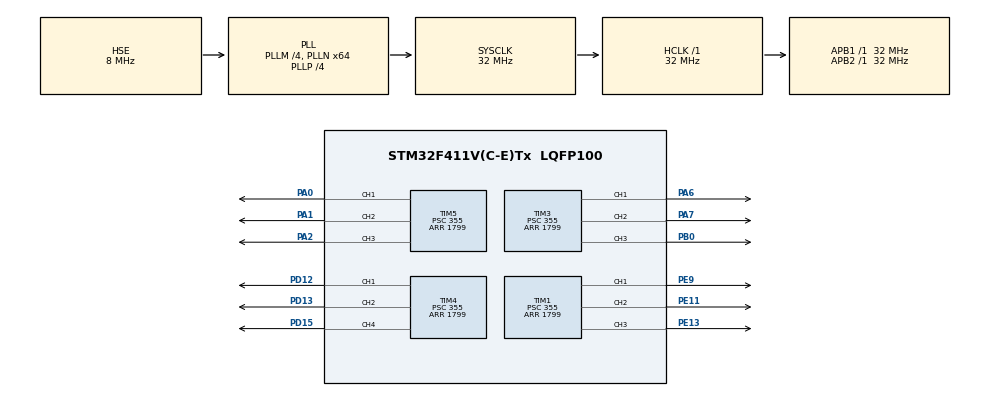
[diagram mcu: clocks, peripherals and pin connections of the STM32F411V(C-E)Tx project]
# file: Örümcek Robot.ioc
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Mcu.Family=STM32F4
Mcu.Name=STM32F411V(C-E)Tx
Mcu.Package=LQFP100
NVIC.PriorityGroup=NVIC_PRIORITYGROUP_4
PA0-WKUP.Signal=S_TIM5_CH1
PA1.Signal=S_TIM5_CH2
PA13.Mode=Serial_Wire
PA13.Signal=SYS_JTMS-SWDIO
PA14.Mode=Serial_Wire
PA14.Signal=SYS_JTCK-SWCLK
PA2.Signal=S_TIM5_CH3
PA6.Signal=S_TIM3_CH1
PA7.Signal=S_TIM3_CH2
PB0.Signal=S_TIM3_CH3
PD12.Signal=S_TIM4_CH1
PD13.Signal=S_TIM4_CH2
PD15.Signal=S_TIM4_CH4
PE11.Signal=S_TIM1_CH2
PE13.Signal=S_TIM1_CH3
PE9.Signal=S_TIM1_CH1
PH0\ -\ OSC_IN.Mode=HSE-External-Oscillator
PH0\ -\ OSC_IN.Signal=RCC_OSC_IN
PH1\ -\ OSC_OUT.Mode=HSE-External-Oscillator
PH1\ -\ OSC_OUT.Signal=RCC_OSC_OUT
ProjectManager.HeapSize=0x200
ProjectManager.StackSize=0x400
ProjectManager.TargetToolchain=STM32CubeIDE
RCC.48MHZClocksFreq_Value=32000000
RCC.AHBFreq_Value=32000000
RCC.APB1Freq_Value=32000000
RCC.APB1TimFreq_Value=32000000
RCC.APB2Freq_Value=32000000
RCC.APB2TimFreq_Value=32000000
RCC.CortexFreq_Value=32000000
RCC.HCLKFreq_Value=32000000
RCC.HSE_VALUE=8000000
RCC.HSI_VALUE=16000000
RCC.LSE_VALUE=32768
RCC.PLLM=4
RCC.PLLN=64
RCC.PLLP=RCC_PLLP_DIV4
RCC.PLLSourceVirtual=RCC_PLLSOURCE_HSE
RCC.SYSCLKFreq_VALUE=32000000
RCC.SYSCLKSource=RCC_SYSCLKSOURCE_PLLCLK
RCC.VCOOutputFreq_Value=128000000
SH.S_TIM1_CH1.0=TIM1_CH1,PWM Generation1 CH1
SH.S_TIM1_CH2.0=TIM1_CH2,PWM Generation2 CH2
SH.S_TIM1_CH3.0=TIM1_CH3,PWM Generation3 CH3
SH.S_TIM3_CH1.0=TIM3_CH1,PWM Generation1 CH1
SH.S_TIM3_CH2.0=TIM3_CH2,PWM Generation2 CH2
SH.S_TIM3_CH3.0=TIM3_CH3,PWM Generation3 CH3
SH.S_TIM4_CH1.0=TIM4_CH1,PWM Generation1 CH1
SH.S_TIM4_CH2.0=TIM4_CH2,PWM Generation2 CH2
SH.S_TIM4_CH4.0=TIM4_CH4,PWM Generation4 CH4
SH.S_TIM5_CH1.0=TIM5_CH1,PWM Generation1 CH1
SH.S_TIM5_CH2.0=TIM5_CH2,PWM Generation2 CH2
SH.S_TIM5_CH3.0=TIM5_CH3,PWM Generation3 CH3
TIM1.Channel-PWM\ Generation1\ CH1=TIM_CHANNEL_1
TIM1.Channel-PWM\ Generation2\ CH2=TIM_CHANNEL_2
TIM1.Channel-PWM\ Generation3\ CH3=TIM_CHANNEL_3
TIM1.Period=1799
TIM1.Prescaler=355
TIM3.Channel-PWM\ Generation1\ CH1=TIM_CHANNEL_1
TIM3.Channel-PWM\ Generation2\ CH2=TIM_CHANNEL_2
TIM3.Channel-PWM\ Generation3\ CH3=TIM_CHANNEL_3
TIM3.Period=1799
TIM3.Prescaler=355
TIM4.Channel-PWM\ Generation1\ CH1=TIM_CHANNEL_1
TIM4.Channel-PWM\ Generation2\ CH2=TIM_CHANNEL_2
TIM4.Channel-PWM\ Generation4\ CH4=TIM_CHANNEL_4
TIM4.Period=1799
TIM4.Prescaler=355
TIM5.Channel-PWM\ Generation1\ CH1=TIM_CHANNEL_1
TIM5.Channel-PWM\ Generation2\ CH2=TIM_CHANNEL_2
TIM5.Channel-PWM\ Generation3\ CH3=TIM_CHANNEL_3
TIM5.Period=1799
TIM5.Prescaler=355
board=custom

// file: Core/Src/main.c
/* USER CODE BEGIN Header */
/**
  ******************************************************************************
  * @file           : main.c
  * @brief          : Main program body
  ******************************************************************************
  * @attention
  *
  * Copyright (c) 2022 STMicroelectronics.
  * All rights reserved.
  *
  * This software is licensed under terms that can be found in the LICENSE file
  * in the root directory of this software component.
  * If no LICENSE file comes with this software, it is provided AS-IS.
  *
  ******************************************************************************
  */
/* USER CODE END Header */
#include "main.h"

TIM_HandleTypeDef htim1;
TIM_HandleTypeDef htim3;
TIM_HandleTypeDef htim4;
TIM_HandleTypeDef htim5;

void SystemClock_Config(void);
static void MX_GPIO_Init(void);
static void MX_TIM1_Init(void);
static void MX_TIM3_Init(void);
static void MX_TIM4_Init(void);
static void MX_TIM5_Init(void);

/* USER CODE BEGIN 0 */

void leg1_1(int angle);
void leg1_2(int angle);
void leg1_3(int angle);

void leg2_1(int angle);
void leg2_2(int angle);
void leg2_3(int angle);

void leg3_1(int angle);
void leg3_2(int angle);
void leg3_3(int angle);

void leg4_1(int angle);
void leg4_2(int angle);
void leg4_3(int angle);

void robot_tims_init(void);
void robot_all_leg_90(void);
void robot_all_leg_init(void);
void İnitilazePosition(void);
void moveForward(void);
void kademeliArttir(TIM_HandleTypeDef,unsigned int, int, int, int, int);

int a = 45;
int b = 67.5;
int c = 90;
int d = 112.5;
int e = 135;

//int a = 40;
//int b = 65;
//int c = 90;
//int d = 115;
//int e = 140;

int currentPosition[4][3]={{90,90,90},
		{90,90,90},
		{90,90,90},
		{90,90,90}};

/* USER CODE END 0 */

int main(void)
{

  /* MCU Configuration--------------------------------------------------------*/

  /* Reset of all peripherals, Initializes the Flash interface and the Systick. */
  HAL_Init();

  /* Configure the system clock */
  SystemClock_Config();

  /* Initialize all configured peripherals */
  MX_GPIO_Init();
  MX_TIM1_Init();
  MX_TIM3_Init();
  MX_TIM4_Init();
  MX_TIM5_Init();
  /* USER CODE BEGIN 2 */

  robot_tims_init();
  robot_all_leg_90();
  HAL_Delay(400);
  İnitilazePosition();
  HAL_Delay(2000);

//  robot_all_leg_90();

//  robot_all_leg_90();
  /* USER CODE END 2 */

  /* Infinite loop */
  while (1)
  {

    /* USER CODE BEGIN 3 */

	  moveForward();

//	moveForward();

  }
  /* USER CODE END 3 */
}

void SystemClock_Config(void)
{
  RCC_OscInitTypeDef RCC_OscInitStruct = {0};
  RCC_ClkInitTypeDef RCC_ClkInitStruct = {0};

  /** Configure the main internal regulator output voltage
  */
  __HAL_RCC_PWR_CLK_ENABLE();
  __HAL_PWR_VOLTAGESCALING_CONFIG(PWR_REGULATOR_VOLTAGE_SCALE1);

  /** Initializes the RCC Oscillators according to the specified parameters
  * in the RCC_OscInitTypeDef structure.
  */
  RCC_OscInitStruct.OscillatorType = RCC_OSCILLATORTYPE_HSE;
  RCC_OscInitStruct.HSEState = RCC_HSE_ON;
  RCC_OscInitStruct.PLL.PLLState = RCC_PLL_ON;
  RCC_OscInitStruct.PLL.PLLSource = RCC_PLLSOURCE_HSE;
  RCC_OscInitStruct.PLL.PLLM = 4;
  RCC_OscInitStruct.PLL.PLLN = 64;
  RCC_OscInitStruct.PLL.PLLP = RCC_PLLP_DIV4;
  RCC_OscInitStruct.PLL.PLLQ = 4;
  if (HAL_RCC_OscConfig(&RCC_OscInitStruct) != HAL_OK)
  {
    Error_Handler();
  }

  /** Initializes the CPU, AHB and APB buses clocks
  */
  RCC_ClkInitStruct.ClockType = RCC_CLOCKTYPE_HCLK|RCC_CLOCKTYPE_SYSCLK
                              |RCC_CLOCKTYPE_PCLK1|RCC_CLOCKTYPE_PCLK2;
  RCC_ClkInitStruct.SYSCLKSource = RCC_SYSCLKSOURCE_PLLCLK;
  RCC_ClkInitStruct.AHBCLKDivider = RCC_SYSCLK_DIV1;
  RCC_ClkInitStruct.APB1CLKDivider = RCC_HCLK_DIV1;
  RCC_ClkInitStruct.APB2CLKDivider = RCC_HCLK_DIV1;

  if (HAL_RCC_ClockConfig(&RCC_ClkInitStruct, FLASH_LATENCY_1) != HAL_OK)
  {
    Error_Handler();
  }
}

static void MX_TIM1_Init(void)
{

  TIM_MasterConfigTypeDef sMasterConfig = {0};
  TIM_OC_InitTypeDef sConfigOC = {0};
  TIM_BreakDeadTimeConfigTypeDef sBreakDeadTimeConfig = {0};

  htim1.Instance = TIM1;
  htim1.Init.Prescaler = 355;
  htim1.Init.CounterMode = TIM_COUNTERMODE_UP;
  htim1.Init.Period = 1799;
  htim1.Init.ClockDivision = TIM_CLOCKDIVISION_DIV1;
  htim1.Init.RepetitionCounter = 0;
  htim1.Init.AutoReloadPreload = TIM_AUTORELOAD_PRELOAD_DISABLE;
  if (HAL_TIM_PWM_Init(&htim1) != HAL_OK)
  {
    Error_Handler();
  }
  sMasterConfig.MasterOutputTrigger = TIM_TRGO_RESET;
  sMasterConfig.MasterSlaveMode = TIM_MASTERSLAVEMODE_DISABLE;
  if (HAL_TIMEx_MasterConfigSynchronization(&htim1, &sMasterConfig) != HAL_OK)
  {
    Error_Handler();
  }
  sConfigOC.OCMode = TIM_OCMODE_PWM1;
  sConfigOC.Pulse = 0;
  sConfigOC.OCPolarity = TIM_OCPOLARITY_HIGH;
  sConfigOC.OCNPolarity = TIM_OCNPOLARITY_HIGH;
  sConfigOC.OCFastMode = TIM_OCFAST_DISABLE;
  sConfigOC.OCIdleState = TIM_OCIDLESTATE_RESET;
  sConfigOC.OCNIdleState = TIM_OCNIDLESTATE_RESET;
  if (HAL_TIM_PWM_ConfigChannel(&htim1, &sConfigOC, TIM_CHANNEL_1) != HAL_OK)
  {
    Error_Handler();
  }
  if (HAL_TIM_PWM_ConfigChannel(&htim1, &sConfigOC, TIM_CHANNEL_2) != HAL_OK)
  {
    Error_Handler();
  }
  if (HAL_TIM_PWM_ConfigChannel(&htim1, &sConfigOC, TIM_CHANNEL_3) != HAL_OK)
  {
    Error_Handler();
  }
  sBreakDeadTimeConfig.OffStateRunMode = TIM_OSSR_DISABLE;
  sBreakDeadTimeConfig.OffStateIDLEMode = TIM_OSSI_DISABLE;
  sBreakDeadTimeConfig.LockLevel = TIM_LOCKLEVEL_OFF;
  sBreakDeadTimeConfig.DeadTime = 0;
  sBreakDeadTimeConfig.BreakState = TIM_BREAK_DISABLE;
  sBreakDeadTimeConfig.BreakPolarity = TIM_BREAKPOLARITY_HIGH;
  sBreakDeadTimeConfig.AutomaticOutput = TIM_AUTOMATICOUTPUT_DISABLE;
  if (HAL_TIMEx_ConfigBreakDeadTime(&htim1, &sBreakDeadTimeConfig) != HAL_OK)
  {
    Error_Handler();
  }
  HAL_TIM_MspPostInit(&htim1);

}

static void MX_TIM3_Init(void)
{

  TIM_MasterConfigTypeDef sMasterConfig = {0};
  TIM_OC_InitTypeDef sConfigOC = {0};

  htim3.Instance = TIM3;
  htim3.Init.Prescaler = 355;
  htim3.Init.CounterMode = TIM_COUNTERMODE_UP;
  htim3.Init.Period = 1799;
  htim3.Init.ClockDivision = TIM_CLOCKDIVISION_DIV1;
  htim3.Init.AutoReloadPreload = TIM_AUTORELOAD_PRELOAD_DISABLE;
  if (HAL_TIM_PWM_Init(&htim3) != HAL_OK)
  {
    Error_Handler();
  }
  sMasterConfig.MasterOutputTrigger = TIM_TRGO_RESET;
  sMasterConfig.MasterSlaveMode = TIM_MASTERSLAVEMODE_DISABLE;
  if (HAL_TIMEx_MasterConfigSynchronization(&htim3, &sMasterConfig) != HAL_OK)
  {
    Error_Handler();
  }
  sConfigOC.OCMode = TIM_OCMODE_PWM1;
  sConfigOC.Pulse = 0;
  sConfigOC.OCPolarity = TIM_OCPOLARITY_HIGH;
  sConfigOC.OCFastMode = TIM_OCFAST_DISABLE;
  if (HAL_TIM_PWM_ConfigChannel(&htim3, &sConfigOC, TIM_CHANNEL_1) != HAL_OK)
  {
    Error_Handler();
  }
  if (HAL_TIM_PWM_ConfigChannel(&htim3, &sConfigOC, TIM_CHANNEL_2) != HAL_OK)
  {
    Error_Handler();
  }
  if (HAL_TIM_PWM_ConfigChannel(&htim3, &sConfigOC, TIM_CHANNEL_3) != HAL_OK)
  {
    Error_Handler();
  }
  HAL_TIM_MspPostInit(&htim3);

}

static void MX_TIM4_Init(void)
{

  TIM_MasterConfigTypeDef sMasterConfig = {0};
  TIM_OC_InitTypeDef sConfigOC = {0};

  htim4.Instance = TIM4;
  htim4.Init.Prescaler = 355;
  htim4.Init.CounterMode = TIM_COUNTERMODE_UP;
  htim4.Init.Period = 1799;
  htim4.Init.ClockDivision = TIM_CLOCKDIVISION_DIV1;
  htim4.Init.AutoReloadPreload = TIM_AUTORELOAD_PRELOAD_DISABLE;
  if (HAL_TIM_PWM_Init(&htim4) != HAL_OK)
  {
    Error_Handler();
  }
  sMasterConfig.MasterOutputTrigger = TIM_TRGO_RESET;
  sMasterConfig.MasterSlaveMode = TIM_MASTERSLAVEMODE_DISABLE;
  if (HAL_TIMEx_MasterConfigSynchronization(&htim4, &sMasterConfig) != HAL_OK)
  {
    Error_Handler();
  }
  sConfigOC.OCMode = TIM_OCMODE_PWM1;
  sConfigOC.Pulse = 0;
  sConfigOC.OCPolarity = TIM_OCPOLARITY_HIGH;
  sConfigOC.OCFastMode = TIM_OCFAST_DISABLE;
  if (HAL_TIM_PWM_ConfigChannel(&htim4, &sConfigOC, TIM_CHANNEL_1) != HAL_OK)
  {
    Error_Handler();
  }
  if (HAL_TIM_PWM_ConfigChannel(&htim4, &sConfigOC, TIM_CHANNEL_2) != HAL_OK)
  {
    Error_Handler();
  }
  if (HAL_TIM_PWM_ConfigChannel(&htim4, &sConfigOC, TIM_CHANNEL_4) != HAL_OK)
  {
    Error_Handler();
  }
  HAL_TIM_MspPostInit(&htim4);

}

static void MX_TIM5_Init(void)
{

  TIM_MasterConfigTypeDef sMasterConfig = {0};
  TIM_OC_InitTypeDef sConfigOC = {0};

  htim5.Instance = TIM5;
  htim5.Init.Prescaler = 355;
  htim5.Init.CounterMode = TIM_COUNTERMODE_UP;
  htim5.Init.Period = 1799;
  htim5.Init.ClockDivision = TIM_CLOCKDIVISION_DIV1;
  htim5.Init.AutoReloadPreload = TIM_AUTORELOAD_PRELOAD_DISABLE;
  if (HAL_TIM_PWM_Init(&htim5) != HAL_OK)
  {
    Error_Handler();
  }
  sMasterConfig.MasterOutputTrigger = TIM_TRGO_RESET;
  sMasterConfig.MasterSlaveMode = TIM_MASTERSLAVEMODE_DISABLE;
  if (HAL_TIMEx_MasterConfigSynchronization(&htim5, &sMasterConfig) != HAL_OK)
  {
    Error_Handler();
  }
  sConfigOC.OCMode = TIM_OCMODE_PWM1;
  sConfigOC.Pulse = 0;
  sConfigOC.OCPolarity = TIM_OCPOLARITY_HIGH;
  sConfigOC.OCFastMode = TIM_OCFAST_DISABLE;
  if (HAL_TIM_PWM_ConfigChannel(&htim5, &sConfigOC, TIM_CHANNEL_1) != HAL_OK)
  {
    Error_Handler();
  }
  if (HAL_TIM_PWM_ConfigChannel(&htim5, &sConfigOC, TIM_CHANNEL_2) != HAL_OK)
  {
    Error_Handler();
  }
  if (HAL_TIM_PWM_ConfigChannel(&htim5, &sConfigOC, TIM_CHANNEL_3) != HAL_OK)
  {
    Error_Handler();
  }
  HAL_TIM_MspPostInit(&htim5);

}

static void MX_GPIO_Init(void)
{

  /* GPIO Ports Clock Enable */
  __HAL_RCC_GPIOH_CLK_ENABLE();
  __HAL_RCC_GPIOA_CLK_ENABLE();
  __HAL_RCC_GPIOB_CLK_ENABLE();
  __HAL_RCC_GPIOE_CLK_ENABLE();
  __HAL_RCC_GPIOD_CLK_ENABLE();

}

/* USER CODE BEGIN 4 */
void İnitilazePosition(){

int t=300;

leg1_3(d);
HAL_Delay(t);
leg2_3(b);
HAL_Delay(t);
leg3_3(b);
HAL_Delay(t);
leg4_3(d);
HAL_Delay(t);

leg1_2(b);
HAL_Delay(t);
leg2_2(d);
HAL_Delay(t);
leg3_2(d);
HAL_Delay(t);
leg4_2(b);
HAL_Delay(t);

leg1_1(b);
HAL_Delay(t);
leg2_1(d);
HAL_Delay(t);
leg3_1(d);
HAL_Delay(t);
leg4_1(b);
HAL_Delay(t);

}

void moveForward(){
	int delay=200;
	leg2_2(e);
	HAL_Delay(delay);
	leg2_3(a);
	leg2_1(c);
	HAL_Delay(delay);
	leg2_2(d);
	HAL_Delay(delay);

	leg1_3(c+20);//
	leg3_3(a-20);
	leg4_3(e);
	leg1_1(a);
	leg2_1(d);
	leg3_1(c);
	leg4_1(c+10);
	HAL_Delay(delay);

	leg3_2(e);
	HAL_Delay(delay);
	leg3_3(c-20);
	leg3_1(d);
	HAL_Delay(delay);
	leg3_2(d);
	HAL_Delay(delay);

	/*    */

	leg1_2(a);
	HAL_Delay(delay);
	leg1_3(e+20);//
	leg1_1(b);
	HAL_Delay(delay);
	leg1_2(b);
	HAL_Delay(delay);

	leg1_3(d+20);
	leg2_3(b);
	leg3_3(b-20);
	leg4_2(c);
	leg1_1(b);//b
	leg4_1(d+10);
	HAL_Delay(delay);

	leg4_2(a);
	HAL_Delay(delay);
	leg4_3(d);
	leg4_1(b+10);
	HAL_Delay(delay);
	leg4_2(b);
	HAL_Delay(delay);
}

void kademeliArttir(TIM_HandleTypeDef timer,unsigned int chanel, int bacak, int eklem, int angle, int fark){
	int i;
	int current = currentPosition[bacak][eklem];

	if(current == angle){
		__HAL_TIM_SET_COMPARE(&timer, chanel, current);
		return;
	}

	if(current < angle){
		for(i=current; i<=angle; i++){
			HAL_Delay(3);
			__HAL_TIM_SET_COMPARE(&timer, chanel, i);
		}
		currentPosition[bacak][eklem] = angle;
	}
	else{
		for(i=current; i>=angle; i--){

			HAL_Delay(3);
			__HAL_TIM_SET_COMPARE(&timer, chanel, i);
		}
		currentPosition[bacak][eklem] = angle;
	}

}

void leg4_1(int angle){

	if(angle < 0)
		 angle = 0;
	if(angle >180)
		angle = 180;
	angle = angle + 45;
	kademeliArttir(htim5, TIM_CHANNEL_2, 4, 1, angle, 45);

	//__HAL_TIM_SET_COMPARE(&htim5, TIM_CHANNEL_2, angle);

}

void leg4_2(int angle){

	if(angle < 0)
		 angle = 0;
	if(angle >180)
		angle = 180;
	angle = angle + 37;//37
	//kademeliArttir(htim3,TIM_CHANNEL_2, 4, 2, angle, 37);
	__HAL_TIM_SET_COMPARE(&htim3, TIM_CHANNEL_2, angle);

}

void leg4_3(int angle){

	if(angle < 0)
		 angle = 0;
	if(angle >180)
		angle = 180;
	angle = angle + 45;
	kademeliArttir(htim1, TIM_CHANNEL_1, 4, 3, angle, 45);
	//__HAL_TIM_SET_COMPARE(&htim1, TIM_CHANNEL_1, angle);

}

void leg2_1(int angle){

	if(angle < 0)
		 angle = 0;
	if(angle >180)
		angle = 180;
	angle = angle + 45;
	kademeliArttir(htim1, TIM_CHANNEL_3, 2, 1, angle, 45);
	//__HAL_TIM_SET_COMPARE(&htim1, TIM_CHANNEL_3, angle);
}

void leg2_2(int angle){

	if(angle < 0)
		 angle = 0;
	if(angle >180)
		angle = 180;
	angle = angle + 47;
	kademeliArttir(htim5, TIM_CHANNEL_3, 2, 2, angle, 47);
	//__HAL_TIM_SET_COMPARE(&htim5, TIM_CHANNEL_3, angle);
}

void leg2_3(int angle){

	if(angle < 0)
		 angle = 0;
	if(angle >180)
		angle = 180;
	angle = angle + 32;
	kademeliArttir(htim5, TIM_CHANNEL_1, 2, 3, angle, 32);
	//__HAL_TIM_SET_COMPARE(&htim5, TIM_CHANNEL_1, angle);
}

void leg3_1(int angle){

	if(angle < 0)
		 angle = 0;
	if(angle >180)
		angle = 180;
	angle = angle + 45;
	kademeliArttir(htim4, TIM_CHANNEL_4, 3, 1, angle, 45);
	//__HAL_TIM_SET_COMPARE(&htim4, TIM_CHANNEL_4, angle);

}

void leg3_2(int angle){

	if(angle < 0)
		 angle = 0;
	if(angle >180)
		angle = 180;
	angle = angle + 47;
	kademeliArttir(htim4, TIM_CHANNEL_2, 3, 2, angle, 47);
	//__HAL_TIM_SET_COMPARE(&htim4, TIM_CHANNEL_2, angle);

}

void leg3_3(int angle){
	if(angle < 0)
		 angle = 0;
	if(angle >180)
		angle = 180;
	angle = angle + 37;//37
	//kademeliArttir(htim1, TIM_CHANNEL_2, 3, 3, angle, 37);
	__HAL_TIM_SET_COMPARE(&htim1, TIM_CHANNEL_2, angle);
}

void leg1_1(int angle){
	if(angle < 0)
		 angle = 0;
	if(angle >180)
		angle = 180;
	angle = angle + 35;
	kademeliArttir(htim4, TIM_CHANNEL_1, 1, 1, angle, 35);
	//__HAL_TIM_SET_COMPARE(&htim4, TIM_CHANNEL_1, angle);
}

void leg1_2(int angle){
	if(angle < 0)
		 angle = 0;
	if(angle >180)
		angle = 180;
	angle = angle + 48;
	kademeliArttir(htim3, TIM_CHANNEL_3, 1, 2, angle, 48);
	//__HAL_TIM_SET_COMPARE(&htim3, TIM_CHANNEL_3, angle);
}

void leg1_3(int angle){
	if(angle < 0)
		 angle = 0;
	if(angle >180)
		angle = 180;
	angle = angle + 48;
	kademeliArttir(htim3, TIM_CHANNEL_1, 1, 3, angle, 48);
	//__HAL_TIM_SET_COMPARE(&htim3, TIM_CHANNEL_1, angle);
}

void robot_all_leg_90(void){

	int i = 90;

	  leg1_1(i);
	  HAL_Delay(500);
	  leg1_2(i);
	  HAL_Delay(500);
	  leg1_3(i);
	  HAL_Delay(1500);

	  leg2_1(i);
	  HAL_Delay(500);
	  leg2_2(i);
	  HAL_Delay(500);
	  leg2_3(i);
	  HAL_Delay(1500);

	  leg3_1(i);
	  HAL_Delay(500);
	  leg3_2(i);
	  HAL_Delay(500);
	  leg3_3(i);
	  HAL_Delay(1500);

	  leg4_1(i);
	  HAL_Delay(500);
	  leg4_2(i);
	  HAL_Delay(500);
	  leg4_3(i);
	  HAL_Delay(1500);

}

void robot_all_leg_init(void){
	  leg1_1(115);
	  HAL_Delay(500);
	  leg1_2(120);
	  HAL_Delay(500);
	  leg1_3(140);
	  HAL_Delay(500);

	  leg4_1(115);
	  HAL_Delay(500);
	  leg4_2(120);
	  HAL_Delay(500);
	  leg4_3(140);
	  HAL_Delay(500);

	  leg2_1(65);
	  HAL_Delay(500);
	  leg2_2(60);
	  HAL_Delay(500);
	  leg2_3(40);
	  HAL_Delay(500);

	  leg3_1(65);
	  HAL_Delay(500);
	  leg3_2(60);
	  HAL_Delay(500);
	  leg3_3(40);
	  HAL_Delay(500);

}

void robot_tims_init(void){

	  HAL_TIM_PWM_Start(&htim1, TIM_CHANNEL_1);
	  HAL_TIM_PWM_Start(&htim1, TIM_CHANNEL_2);
	  HAL_TIM_PWM_Start(&htim1, TIM_CHANNEL_3);

	  HAL_TIM_PWM_Start(&htim3, TIM_CHANNEL_1);
	  HAL_TIM_PWM_Start(&htim3, TIM_CHANNEL_2);
	  HAL_TIM_PWM_Start(&htim3, TIM_CHANNEL_3);

	  HAL_TIM_PWM_Start(&htim4, TIM_CHANNEL_1);
	  HAL_TIM_PWM_Start(&htim4, TIM_CHANNEL_2);
	  HAL_TIM_PWM_Start(&htim4, TIM_CHANNEL_4);

	  HAL_TIM_PWM_Start(&htim5, TIM_CHANNEL_1);
	  HAL_TIM_PWM_Start(&htim5, TIM_CHANNEL_2);
	  HAL_TIM_PWM_Start(&htim5, TIM_CHANNEL_3);

}

/* USER CODE END 4 */

void Error_Handler(void)
{
  __disable_irq();
  while (1)
  {
  }
}
